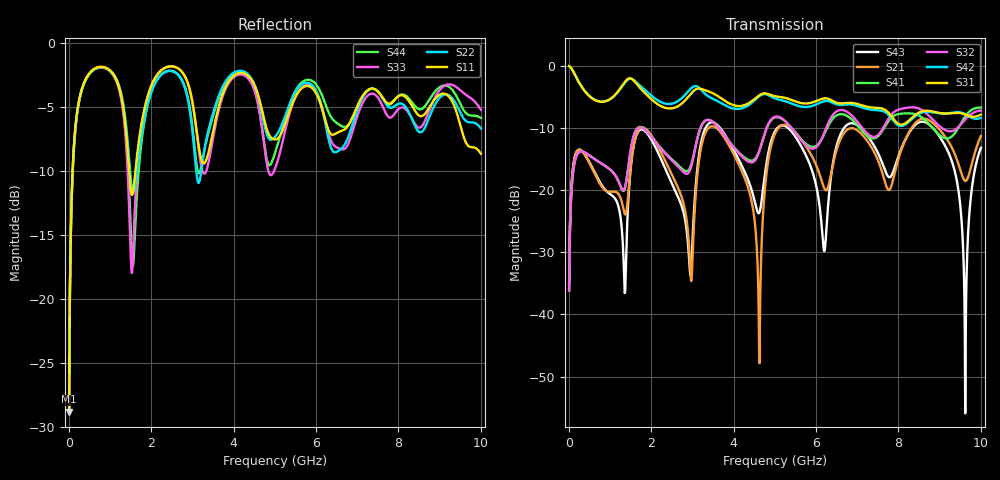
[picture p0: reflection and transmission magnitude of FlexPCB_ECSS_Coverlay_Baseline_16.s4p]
! TOUCHSTONE file generated by CST MICROWAVE STUDIO
! Date and time: Sun Jul  5 19:09:41 2026
! Project name: FlexPCB_ECSS_Coverlay_Baseline.cst
! Parameters = {Gap=0.8; GroundW=6.4; Hadh=0.025; Hcov=0.025; Hsub=0.1; L=50; Tcu=0.035; W=0.16}
! Header version: 2024
! Port assignment regex: !\s*Touchstone port\s*([0-9]+)\s*=\s*(CST MWS port|CST DES external port|CST DES block port)\s*(.+)\s* \(\"(.*)\"\)(\s*mode\s*([0-9]+))?.*
! Touchstone port assignment:
! Touchstone port 1 = CST MWS port 1 ("")
! Touchstone port 2 = CST MWS port 2 ("")
! Touchstone port 3 = CST MWS port 3 ("")
! Touchstone port 4 = CST MWS port 4 ("")
# GHz S MA R 50
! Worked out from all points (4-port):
!   1002 points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, 10 MHz to 10 GHz, reference 50 ohm
!   strongest paths, dB at 10 MHz, 2.51 GHz, 5.01 GHz, 7.503 GHz, 10 GHz:
!     S31: 0.0, -6.8, -4.9, -6.7, -7.8
!     S42: 0.0, -6.0, -5.2, -7.1, -8.3
!     S32: -36.1, -15.2, -8.2, -11.1, -7.2
!     S41: -36.1, -15.1, -8.3, -11.3, -6.7
!     S21: -35.1, -17.6, -10.8, -15.2, -11.3
!     S43: -35.1, -19.0, -10.5, -14.0, -13.2
!   lowest |S11| = -28.8 dB at 10 MHz (marker M1), VSWR 1.08, Z = 49.8 - j3.61 ohm
!   |S11| at or under -10 dB: start of sweep to 95.56 MHz; 1.466 GHz to 1.619 GHz (152.9 MHz wide, 9.91 % of centre)
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0.01  0.03616 -91.1  0.01749 85.3  0.9978 -2.5  0.01561 85.4
      0.01749 85.3  0.03566 -91.1  0.01561 85.4  0.9978 -2.5
      0.9978 -2.5  0.01561 85.4  0.03615 -91.1  0.01748 85.3
      0.01561 85.4  0.9978 -2.5  0.01748 85.3  0.03565 -91.1
1.52  0.2579 168.1  0.1703 59.6  0.7921 -172.4  0.2273 -99.2
      0.1703 59.6  0.2794 159.1  0.2246 -100.2  0.7894 -168.9
      0.7921 -172.4  0.2246 -100.2  0.13 162.1  0.1705 93.6
      0.2273 -99.2  0.7894 -168.9  0.1705 93.6  0.1613 145.2
3.13  0.4203 149.4  0.1419 90.3  0.658 22.2  0.2694 87.3
      0.1419 90.3  0.2873 165.4  0.2677 89.1  0.6823 12.7
      0.658 22.2  0.2677 89.1  0.4109 146.9  0.1602 78.3
      0.2694 87.3  0.6823 12.7  0.1602 78.3  0.3154 166.4
4.62  0.6041 153.4  0.005155 -40.6  0.5799 -137.3  0.2076 -75.6
      0.005155 -40.6  0.5975 153.7  0.2043 -73.1  0.5707 -136.8
      0.5799 -137.3  0.2043 -73.1  0.5461 146.0  0.0657 -162.5
      0.2076 -75.6  0.5707 -136.8  0.0657 -162.5  0.5504 150.8
8.68  0.5367 169.1  0.374 -33.8  0.437 139.1  0.3586 174.4
      0.374 -33.8  0.4804 -178.9  0.4154 173.5  0.4288 140.0
      0.437 139.1  0.4154 173.5  0.5106 -171.7  0.3492 -22.3
      0.3586 174.4  0.4288 140.0  0.3492 -22.3  0.5751 178.6
9.62  0.4128 149.0  0.119 149.5  0.407 33.5  0.3929 105.4
      0.119 149.5  0.4973 164.7  0.3723 96.4  0.4102 30.2
      0.407 33.5  0.3723 96.4  0.6287 167.5  0.001601 -66.0
      0.3929 105.4  0.4102 30.2  0.001601 -66.0  0.5343 162.2
10  0.368 160.4  0.2735 22.6  0.407 -2.3  0.4634 49.4
    0.2735 22.6  0.4625 167.7  0.4387 46.6  0.3825 -6.4
    0.407 -2.3  0.4387 46.6  0.5467 164.1  0.2194 5.9
    0.4634 49.4  0.3825 -6.4  0.2194 5.9  0.5086 167.4
